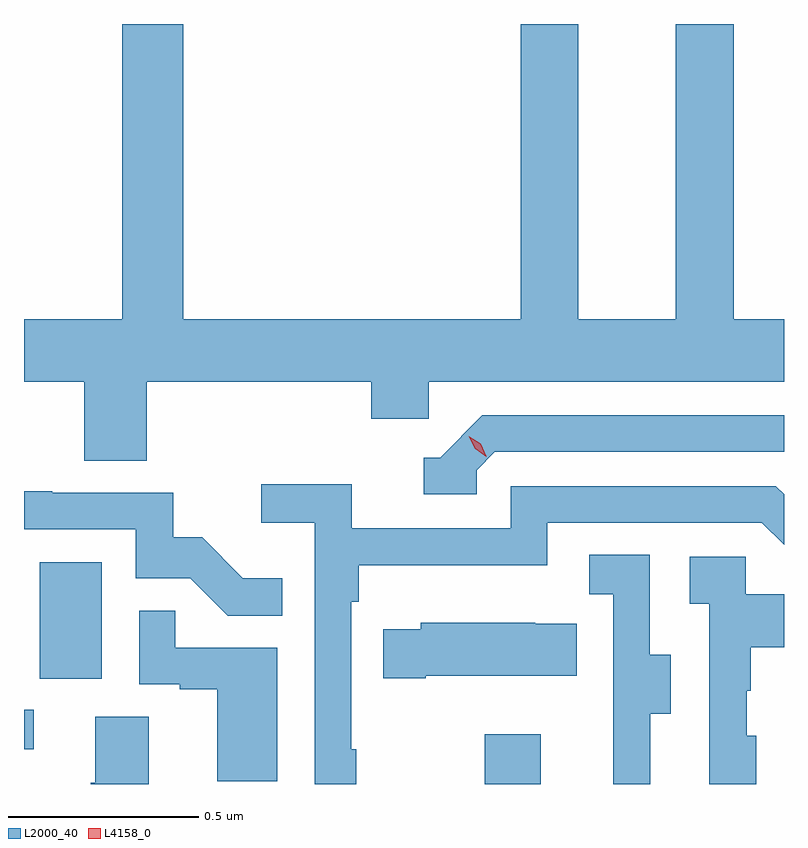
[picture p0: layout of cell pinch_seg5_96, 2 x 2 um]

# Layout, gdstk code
import gdstk
lib = gdstk.Library(unit=1e-6, precision=1e-09)
def R(c, l, rs):  # rectangles x0, y0, x1, y1
    for r in rs: c.add(gdstk.rectangle(r[:2], r[2:], *l))
def P(c, l, *ps):  # polygons
    for p in ps: c.add(gdstk.Polygon(p, *l))
L2000_40 = (2000, 40)
L4158_0 = (4158, 0)

pinch_seg5_96 = lib.new_cell('pinch_seg5_96')
R(pinch_seg5_96, L2000_40, [(1042.06,896.993,1042.207,897.124), (1040.847,897.084,1040.872,897.189), (1040.888,897.27,1041.052,897.577)])
P(pinch_seg5_96, L2000_40, [(1041.17,898.052),(1041.761,898.052),(1041.761,897.954),(1041.912,897.954),(1041.912,898.052),(1042.847,898.052),(1042.847,898.216),(1042.715,898.216),(1042.715,898.993),(1042.562,898.993),(1042.562,898.216),(1042.306,898.216),(1042.306,898.993),(1042.154,898.993),(1042.154,898.216),(1041.266,898.216),(1041.266,898.993),(1041.106,898.993),(1041.106,898.216),(1040.847,898.216),(1040.847,898.052),(1041.005,898.052),(1041.005,897.844),(1041.17,897.844)],
  [(1042.038,897.819),(1042.086,897.867),(1042.847,897.867),(1042.847,897.963),(1042.053,897.963),(1041.942,897.852),(1041.899,897.852),(1041.899,897.756),(1042.038,897.756)],
  [(1041.721,897.085),(1041.708,897.085),(1041.708,897.473),(1041.728,897.473),(1041.728,897.569),(1042.224,897.569),(1042.224,897.681),(1042.788,897.681),(1042.847,897.622),(1042.847,897.755),(1042.825,897.777),(1042.128,897.777),(1042.128,897.666),(1041.71,897.666),(1041.71,897.782),(1041.471,897.782),(1041.471,897.68),(1041.612,897.68),(1041.612,896.993),(1041.721,896.993)],
  [(1041.527,897.535),(1041.423,897.535),(1041.316,897.642),(1041.24,897.642),(1041.24,897.759),(1040.921,897.759),(1040.921,897.764),(1040.847,897.764),(1040.847,897.663),(1041.141,897.663),(1041.141,897.534),(1041.285,897.534),(1041.383,897.436),(1041.527,897.436)],
  [(1042.495,897.178),(1042.549,897.178),(1042.549,897.333),(1042.494,897.333),(1042.494,897.596),(1042.335,897.596),(1042.335,897.493),(1042.398,897.493),(1042.398,897.189),(1042.397,897.189),(1042.397,896.993),(1042.495,896.993)],
  [(1042.774,897.12),(1042.749,897.12),(1042.749,897.239),(1042.759,897.239),(1042.759,897.353),(1042.847,897.353),(1042.847,897.493),(1042.746,897.493),(1042.746,897.591),(1042.599,897.591),(1042.599,897.467),(1042.65,897.467),(1042.65,896.993),(1042.774,896.993)],
  [(1041.514,897.351),(1041.245,897.351),(1041.245,897.449),(1041.15,897.449),(1041.15,897.255),(1041.257,897.255),(1041.257,897.243),(1041.356,897.243),(1041.356,897),(1041.514,897)],
  [(1041.904,897.278),(1042.301,897.278),(1042.301,897.415),(1042.193,897.415),(1042.193,897.418),(1041.891,897.418),(1041.891,897.4),(1041.793,897.4),(1041.793,897.271),(1041.904,897.271)],
  [(1041.175,897.17),(1041.035,897.17),(1041.035,896.996),(1041.023,896.996),(1041.023,896.993),(1041.175,896.993)])
P(pinch_seg5_96, L4158_0, [(1042.064,897.854),(1042.034,897.875),(1042.018,897.908),(1042.018,897.908),(1042.018,897.908),(1042.049,897.888),(1042.064,897.855),(1042.064,897.854)])

lib.write_gds('pinch_seg5_96.gds')
